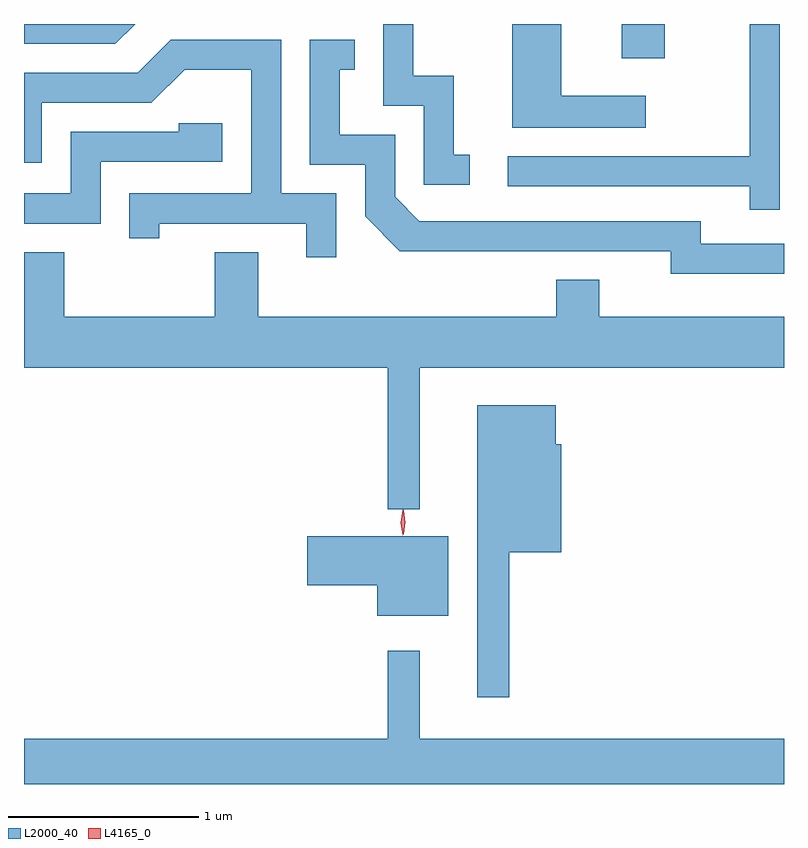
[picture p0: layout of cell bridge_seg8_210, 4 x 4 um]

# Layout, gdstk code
import gdstk
lib = gdstk.Library(unit=1e-6, precision=1e-09)
def R(c, l, rs):  # rectangles x0, y0, x1, y1
    for r in rs: c.add(gdstk.rectangle(r[:2], r[2:], *l))
def P(c, l, *ps):  # polygons
    for p in ps: c.add(gdstk.Polygon(p, *l))
L2000_40 = (2000, 40)
L4165_0 = (4165, 0)

bridge_seg8_210 = lib.new_cell('bridge_seg8_210')
R(bridge_seg8_210, L2000_40, [(1111.611,1906.866,1111.839,1907.046)])
P(bridge_seg8_210, L2000_40, [(1111.738,1906.669),(1111.294,1906.669),(1111.294,1907.046),(1111.036,1907.046),(1111.036,1906.501),(1111.738,1906.501)],
  [(1109.052,1907.046),(1108.466,1907.046),(1108.466,1906.941),(1108.947,1906.941)],
  [(1110.813,1906.359),(1110.729,1906.359),(1110.729,1906.774),(1110.514,1906.774),(1110.514,1907.046),(1110.356,1907.046),(1110.356,1906.616),(1110.571,1906.616),(1110.571,1906.201),(1110.813,1906.201)],
  [(1112.444,1907.046),(1112.286,1907.046),(1112.286,1906.349),(1111.013,1906.349),(1111.013,1906.191),(1112.286,1906.191),(1112.286,1906.068),(1112.444,1906.068)],
  [(1110.109,1906.154),(1109.819,1906.154),(1109.819,1906.964),(1109.239,1906.964),(1109.064,1906.789),(1108.466,1906.789),(1108.466,1906.316),(1108.559,1906.316),(1108.559,1906.631),(1109.137,1906.631),(1109.312,1906.806),(1109.661,1906.806),(1109.661,1906.154),(1109.021,1906.154),(1109.021,1905.918),(1109.179,1905.918),(1109.179,1905.996),(1109.951,1905.996),(1109.951,1905.818),(1110.109,1905.818)],
  [(1112.466,1905.889),(1112.029,1905.889),(1112.029,1906.009),(1110.547,1906.009),(1110.419,1906.137),(1110.419,1906.464),(1110.129,1906.464),(1110.129,1906.806),(1110.208,1906.806),(1110.208,1906.964),(1109.971,1906.964),(1109.971,1906.306),(1110.261,1906.306),(1110.261,1906.034),(1110.444,1905.851),(1111.871,1905.851),(1111.871,1905.731),(1112.466,1905.731)],
  [(1108.869,1906.321),(1109.509,1906.321),(1109.509,1906.524),(1109.281,1906.524),(1109.281,1906.479),(1108.711,1906.479),(1108.711,1906.154),(1108.466,1906.154),(1108.466,1905.996),(1108.869,1905.996)],
  [(1110.549,1905.236),(1112.466,1905.236),(1112.466,1905.504),(1111.494,1905.504),(1111.494,1905.699),(1111.266,1905.699),(1111.266,1905.504),(1109.699,1905.504),(1109.699,1905.844),(1109.471,1905.844),(1109.471,1905.504),(1108.679,1905.504),(1108.679,1905.844),(1108.466,1905.844),(1108.466,1905.236),(1110.381,1905.236),(1110.381,1904.493),(1110.549,1904.493)],
  [(1111.019,1904.266),(1111.294,1904.266),(1111.294,1904.834),(1111.264,1904.834),(1111.264,1905.039),(1110.851,1905.039),(1110.851,1903.503),(1111.019,1903.503)],
  [(1110.699,1904.349),(1109.956,1904.349),(1109.956,1904.091),(1110.326,1904.091),(1110.326,1903.931),(1110.699,1903.931)],
  [(1112.466,1903.284),(1110.549,1903.284),(1110.549,1903.748),(1110.381,1903.748),(1110.381,1903.284),(1108.466,1903.284),(1108.466,1903.046),(1112.466,1903.046)])
P(bridge_seg8_210, L4165_0, [(1110.462,1904.36),(1110.453,1904.424),(1110.462,1904.486),(1110.463,1904.487),(1110.464,1904.486),(1110.473,1904.424),(1110.464,1904.36),(1110.463,1904.36)],
  [(1110.459,1904.354),(1110.459,1904.354),(1110.45,1904.422),(1110.46,1904.49),(1110.461,1904.49),(1110.461,1904.49),(1110.47,1904.422),(1110.46,1904.354)])

lib.write_gds('bridge_seg8_210.gds')
